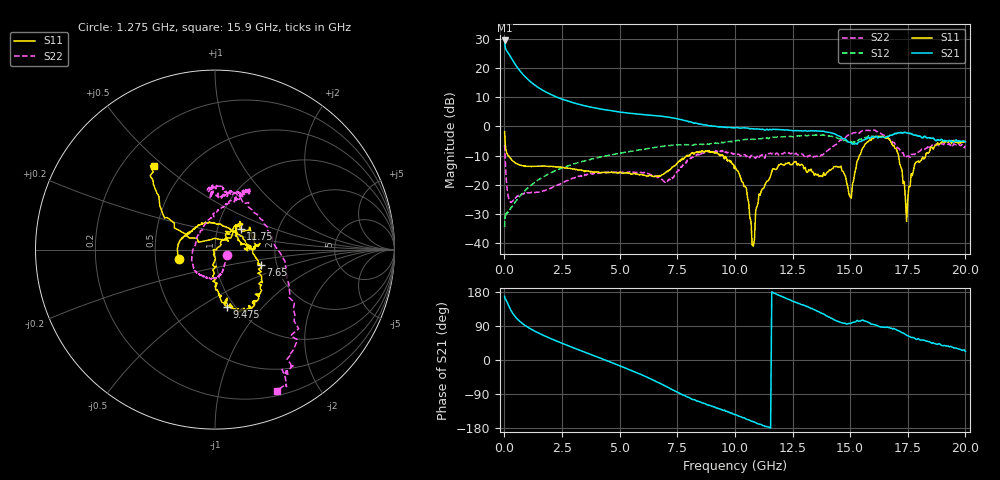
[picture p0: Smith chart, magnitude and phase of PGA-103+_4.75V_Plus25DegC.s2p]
!Mini-Circuits Laboratory
!S-Parameters, Port extension performed
!Model: PGA-103+
!Run / Lot / Date Code: N/A / BP170-001-01-101EV / 1210
!Fixture: TB-313
!Network Analyzer: PNA-X N5242A - 423 4 ports;  Serial number: 71013
!Date: 5/24/2012 at 5:11:19 PM
!S/N: Unit# 1
!Tested with: Vdd=4.75V at 25C
# Hz  S  dB  R  50
!Frequency  S11 dB  S11 Deg  S21 dB  S21 Deg  S12 dB  S12 Deg  S22 dB  S22 Deg
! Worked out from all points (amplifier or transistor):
!   660 points, 10 MHz to 20 GHz, reference 50 ohm
!   highest |S21| = 29.5 dB at 10 MHz (marker M1)
!   |S21| within 3 dB of that: start of sweep to 62.84 MHz
!   unconditionally stable (mu >= 1): 131 MHz to 15.04 GHz; 16.84 GHz to end of sweep
!   at 1.275 GHz: K = 1.11, MAG = 14.9 dB, |S12| = -19.4 dB
!   at 6.775 GHz: K = 1.03, MAG = 4.1 dB, |S12| = -6.9 dB
!   at 20 GHz: K = 1.27, MAG = -3.1 dB, |S12| = -5.3 dB
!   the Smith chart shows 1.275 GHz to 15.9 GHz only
!   S11 on the Smith chart (normalised r, x): 1.275 GHz: 0.66, -0.07; 7.65 GHz: 1.65, -0.31; 9.475 GHz: 0.92, -0.65; 11.75 GHz: 1.29, +0.31; 15.9 GHz: 0.33, +0.46
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1e7  -1.77 -19.9  29.46 168.1  -34.40 66.0  -6.37 -24.0
5e7  -7.02 -40.2  26.78 160.3  -29.80 23.1  -14.04 -59.1
9e7  -8.69 -44.1  26.06 156.3  -29.97 23.0  -18.95 -59.5
2.4e8  -10.68 -71.2  24.22 136.2  -28.37 32.0  -25.69 -26.4
4.5e8  -12.29 -104.5  21.52 115.9  -26.13 42.8  -24.69 -1.9
6e8  -13.00 -121.4  19.81 105.8  -24.56 47.3  -23.72 -1.4
7.7e8  -13.44 -136.7  18.13 96.8  -23.00 49.9  -23.06 -4.3
1.275e9  -13.66 -165.1  14.43 77.5  -19.37 50.3  -22.68 -22.5
2.1e9  -13.73 171.2  10.65 54.2  -15.55 42.2  -20.74 -51.6
3.35e9  -14.97 149.1  7.33 23.7  -12.04 23.1  -17.13 -78.6
6.675e9  -16.97 56.3  3.61 -59.3  -6.99 -46.5  -17.38 -163.5
7.65e9  -11.34 -18.9  2.42 -89.1  -6.28 -75.0  -13.92 93.1
9.475e9  -9.78 -78.5  -0.14 -132.7  -5.47 -119.3  -8.42 60.2
1.005e10  -14.54 -86.3  -0.32 -144.7  -4.79 -132.6  -9.25 69.2
1.08e10  -40.98 -8.6  -0.75 -163.0  -4.33 -152.1  -10.58 83.5
1.175e10  -14.73 38.8  -1.03 175.2  -3.70 -175.2  -9.53 97.5
1.335e10  -15.51 10.8  -1.52 136.0  -3.01 143.8  -10.32 44.8
1.5e10  -24.02 91.6  -5.45 96.5  -5.32 108.1  -2.83 -54.3
1.59e10  -4.78 126.4  -3.78 94.6  -3.47 95.4  -1.30 -66.4
1.67e10  -4.48 90.3  -3.27 85.7  -3.20 85.8  -4.13 -70.6
1.745e10  -32.51 113.1  -2.22 65.0  -2.21 65.0  -10.26 -18.9
2e10  -5.14 161.0  -5.23 22.5  -5.26 22.5  -6.69 26.5
